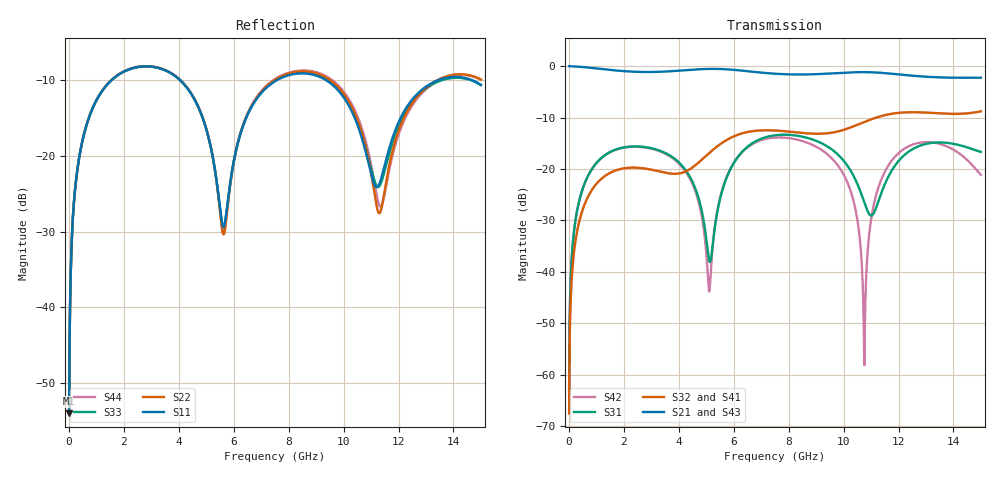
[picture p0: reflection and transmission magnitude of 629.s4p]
! Created with skrf 1.8.0 (http://scikit-rf.org).
# GHz S RI R 50.0
!freq ReS11 ImS11 ReS12 ImS12 ReS13 ImS13
! ReS14 ImS14
! ReS21 ImS21 ReS22 ImS22 ReS23 ImS23
! ReS24 ImS24
! ReS31 ImS31 ReS32 ImS32 ReS33 ImS33
! ReS34 ImS34
! ReS41 ImS41 ReS42 ImS42 ReS43 ImS43
! ReS44 ImS44
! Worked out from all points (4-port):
!   2499 points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, 5 MHz to 15 GHz, reference 50 ohm
!   strongest paths, dB at 5 MHz, 3.476 GHz, 7.19 GHz, 11.1 GHz, 15 GHz:
!     S21: 0.0, -1.1, -1.4, -1.2, -2.2
!     S43: 0.0, -1.1, -1.4, -1.2, -2.2
!     S32: -67.5, -20.7, -12.5, -10.2, -8.8
!     S41: -67.5, -20.7, -12.5, -10.2, -8.8
!     S31: -63.4, -16.8, -13.8, -28.6, -16.7
!     S42: -63.4, -17.0, -14.1, -27.0, -21.1
!   lowest |S11| = -54.0 dB at 5 MHz (marker M1), VSWR 1.00, Z = 50.2 + j0.121 ohm
!   |S11| at or under -10 dB: start of sweep to 1.555 GHz; 4.04 GHz to 7.581 GHz (3.541 GHz wide, 60.9 % of centre); 9.351 GHz to 13.46 GHz (4.113 GHz wide, 36.1 % of centre) (the widest 3 of 4)
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0.005  0.00159 0.00121  0.9984 -0.0031  8.13e-05 0.000672  -7.88e-05 -0.000415
       0.9984 -0.0031  0.00159 0.00121  -7.88e-05 -0.000415  8.13e-05 0.000672
       8.13e-05 0.000672  -7.88e-05 -0.000415  0.00159 0.00121  0.9984 -0.0031
       -7.88e-05 -0.000415  8.13e-05 0.000672  0.9984 -0.0031  0.00159 0.00121
1.569404  0.2631 0.1786  0.561 -0.7219  0.1343 0.0657  -0.0934 -0.00807
          0.561 -0.7219  0.2639 0.1781  -0.0934 -0.00807  0.1317 0.0692
          0.1343 0.0657  -0.0934 -0.00807  0.2631 0.1786  0.5609 -0.722
          -0.0934 -0.00807  0.1317 0.0692  0.5609 -0.722  0.264 0.1781
5.108378  0.0637 -0.1091  -0.8725 -0.3478  -0.0119 -0.00487  -0.0488 0.1344
          -0.8725 -0.3478  0.0605 -0.1115  -0.0487 0.1344  -0.00632 -0.00125
          -0.0119 -0.00487  -0.0487 0.1344  0.0635 -0.1089  -0.8726 -0.3475
          -0.0488 0.1344  -0.00632 -0.00125  -0.8726 -0.3475  0.0605 -0.1112
8.828679  0.3411 -0.049  0.0333 0.8312  0.1587 -0.1137  0.2058 -0.0798
          0.0333 0.8312  0.3512 -0.0616  0.2058 -0.0799  0.1594 -0.0681
          0.1587 -0.1137  0.2058 -0.0799  0.3465 -0.05  0.0335 0.8289
          0.2058 -0.0798  0.1594 -0.0681  0.0335 0.8289  0.3568 -0.0618
10.75448  0.084 -0.0784  0.777 0.3988  -0.0373 -0.0292  0.1232 -0.2584
          0.777 0.3988  0.0715 -0.1017  0.1233 -0.2587  0.00124 3.99e-05
          -0.0373 -0.0292  0.1233 -0.2587  0.0873 -0.088  0.7747 0.4002
          0.1232 -0.2584  0.00124 3.99e-05  0.7747 0.4002  0.078 -0.1099
11.84869  0.1033 0.0976  0.8276 -0.1345  0.0562 0.0896  -0.0781 -0.3379
          0.8276 -0.1345  0.0772 0.0907  -0.0783 -0.3383  0.085 0.098
          0.0562 0.0896  -0.0783 -0.3383  0.0993 0.0881  0.8289 -0.1328
          -0.0781 -0.3379  0.085 0.098  0.8289 -0.1328  0.0779 0.0803
15  0.2879 -0.0596  -0.1913 -0.7479  -0.0258 -0.144  -0.3486 0.1025
    -0.1913 -0.7479  0.3118 -0.0667  -0.3486 0.1026  -0.00778 -0.0874
    -0.0258 -0.144  -0.3486 0.1026  0.2861 -0.0599  -0.1943 -0.7476
    -0.3486 0.1025  -0.00778 -0.0874  -0.1943 -0.7476  0.31 -0.0691
